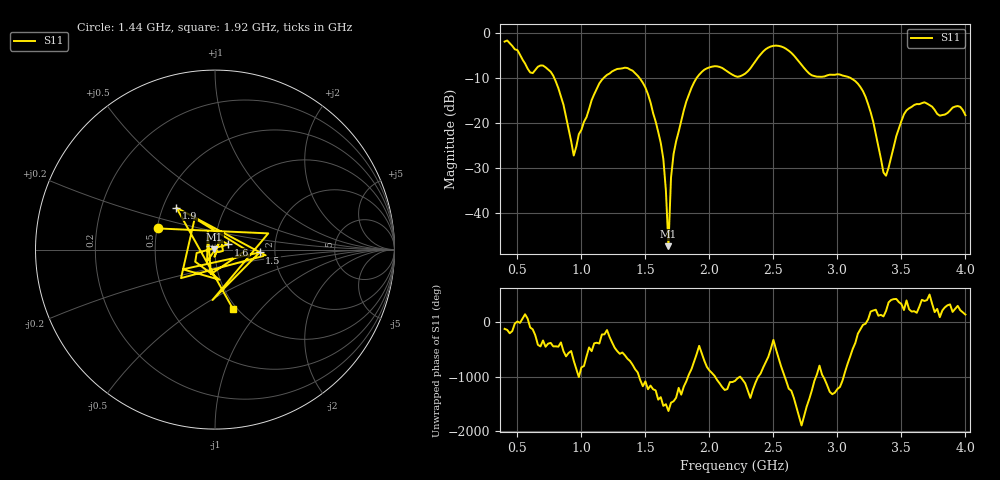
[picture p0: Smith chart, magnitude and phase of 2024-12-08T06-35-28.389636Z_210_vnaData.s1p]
!Created with skrf (http://scikit-rf.org).
# Hz S RI R 50.0
!freq ReS11 ImS11
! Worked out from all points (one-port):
!   181 points, 400 MHz to 4 GHz, reference 50 ohm
!   lowest |S11| = -47.4 dB at 1.68 GHz (marker M1), VSWR 1.01, Z = 49.6 + j0.0555 ohm
!   |S11| at or under -10 dB: 788.6 MHz to 1.172 GHz (383.5 MHz wide, 39.1 % of centre); 1.455 GHz to 1.899 GHz (443.9 MHz wide, 26.5 % of centre); 3.105 GHz to end of sweep
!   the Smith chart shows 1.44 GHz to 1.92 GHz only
!   S11 on the Smith chart (normalised r, x): 1.44 GHz: 0.51, +0.14; 1.5 GHz: 1.66, -0.06; 1.6 GHz: 1.16, +0.07; 1.9 GHz: 0.59, +0.31; 1.92 GHz: 0.96, -0.72
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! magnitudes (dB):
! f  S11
! 400 MHz  -1.8
! 600 MHz  -8.7
! 760 MHz  -8.6
! 860 MHz  -15.9
! 940 MHz  -27.2
! 1.14 GHz  -11.2
! 1.3 GHz  -7.9
! 1.44 GHz  -9.5
! 1.5 GHz  -12.1
! 1.6 GHz  -22.0
! 1.64 GHz  -28.0
! 1.66 GHz  -35.0
! 1.68 GHz  -47.4
! 1.7 GHz  -32.2
! 1.76 GHz  -21.9
! 1.9 GHz  -10.0
! 1.92 GHz  -9.2
! 2.06 GHz  -7.3
! 2.2 GHz  -9.5
! 2.48 GHz  -2.9
! 2.66 GHz  -4.9
! 2.8 GHz  -9.3
! 3.1 GHz  -9.9
! 3.22 GHz  -14.2
! 3.38 GHz  -31.7
! 3.48 GHz  -21.2
! 3.56 GHz  -16.7
! 4 GHz  -18.2
